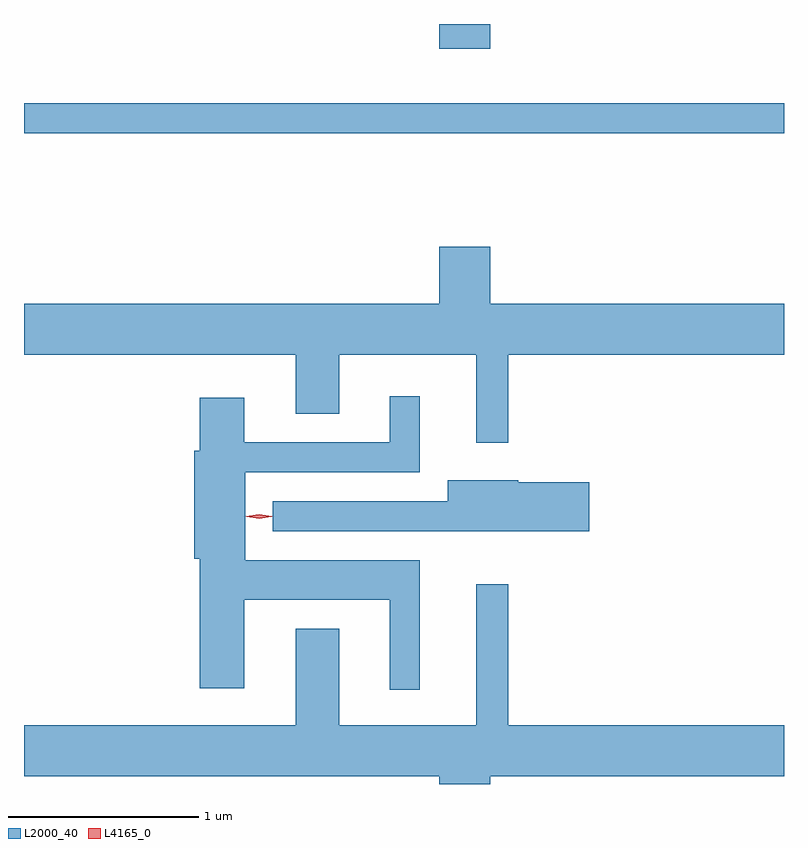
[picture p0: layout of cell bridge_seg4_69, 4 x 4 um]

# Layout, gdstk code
import gdstk
lib = gdstk.Library(unit=1e-6, precision=1e-09)
def R(c, l, rs):  # rectangles x0, y0, x1, y1
    for r in rs: c.add(gdstk.rectangle(r[:2], r[2:], *l))
def P(c, l, *ps):  # polygons
    for p in ps: c.add(gdstk.Polygon(p, *l))
L2000_40 = (2000, 40)
L4165_0 = (4165, 0)

bridge_seg4_69 = lib.new_cell('bridge_seg4_69')
R(bridge_seg4_69, L2000_40, [(1571.53,1260.381,1575.53,1260.539), (1573.716,1260.826,1573.984,1260.956)])
P(bridge_seg4_69, L2000_40, [(1574.079,1259.216),(1575.53,1259.216),(1575.53,1259.484),(1573.984,1259.484),(1573.984,1259.784),(1573.716,1259.784),(1573.716,1259.484),(1571.53,1259.484),(1571.53,1259.216),(1572.961,1259.216),(1572.961,1258.906),(1573.189,1258.906),(1573.189,1259.216),(1573.911,1259.216),(1573.911,1258.753),(1574.079,1258.753)],
  [(1573.614,1258.134),(1572.694,1258.134),(1572.694,1258.596),(1573.614,1258.596),(1573.614,1258.998),(1573.456,1258.998),(1573.456,1258.754),(1572.689,1258.754),(1572.689,1258.989),(1572.456,1258.989),(1572.456,1258.709),(1572.426,1258.709),(1572.426,1258.141),(1572.456,1258.141),(1572.456,1257.461),(1572.689,1257.461),(1572.689,1257.926),(1573.456,1257.926),(1573.456,1257.453),(1573.614,1257.453)],
  [(1574.504,1258.544),(1574.13,1258.544),(1574.13,1258.554),(1573.761,1258.554),(1573.761,1258.444),(1572.838,1258.444),(1572.838,1258.286),(1574.504,1258.286)],
  [(1573.984,1256.996),(1575.53,1256.996),(1575.53,1257.264),(1574.079,1257.264),(1574.079,1258.008),(1573.911,1258.008),(1573.911,1257.264),(1573.189,1257.264),(1573.189,1257.774),(1572.961,1257.774),(1572.961,1257.264),(1571.53,1257.264),(1571.53,1256.996),(1573.716,1256.996),(1573.716,1256.956),(1573.984,1256.956)])
P(bridge_seg4_69, L4165_0, [(1572.767,1258.355),(1572.698,1258.365),(1572.698,1258.366),(1572.698,1258.366),(1572.767,1258.375),(1572.836,1258.366),(1572.836,1258.365),(1572.836,1258.364)],
  [(1572.768,1258.353),(1572.703,1258.362),(1572.703,1258.363),(1572.703,1258.363),(1572.768,1258.373),(1572.832,1258.363),(1572.833,1258.363),(1572.832,1258.362)])

lib.write_gds('bridge_seg4_69.gds')
